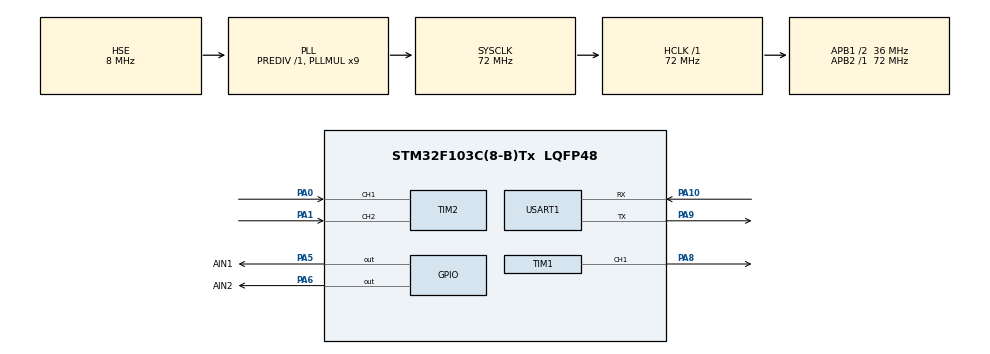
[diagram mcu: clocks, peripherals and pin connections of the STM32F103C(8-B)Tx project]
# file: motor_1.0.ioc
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Mcu.Family=STM32F1
Mcu.Name=STM32F103C(8-B)Tx
Mcu.Package=LQFP48
NVIC.PriorityGroup=NVIC_PRIORITYGROUP_4
NVIC.TIM3_IRQn=true\:0\:0\:false\:false\:true\:true\:true\:true
NVIC.USART1_IRQn=true\:0\:0\:false\:false\:true\:true\:true\:true
PA0-WKUP.Signal=S_TIM2_CH1_ETR
PA1.Signal=S_TIM2_CH2
PA10.Mode=Asynchronous
PA10.Signal=USART1_RX
PA13.Mode=Serial_Wire
PA13.Signal=SYS_JTMS-SWDIO
PA14.Mode=Serial_Wire
PA14.Signal=SYS_JTCK-SWCLK
PA5.GPIO_Label=AIN1
PA5.Signal=GPIO_Output
PA6.GPIO_Label=AIN2
PA6.Signal=GPIO_Output
PA8.Signal=S_TIM1_CH1
PA9.Mode=Asynchronous
PA9.Signal=USART1_TX
PD0-OSC_IN.Mode=HSE-External-Oscillator
PD0-OSC_IN.Signal=RCC_OSC_IN
PD1-OSC_OUT.Mode=HSE-External-Oscillator
PD1-OSC_OUT.Signal=RCC_OSC_OUT
ProjectManager.HeapSize=0x200
ProjectManager.StackSize=0x400
ProjectManager.TargetToolchain=STM32CubeIDE
RCC.AHBFreq_Value=72000000
RCC.APB1CLKDivider=RCC_HCLK_DIV2
RCC.APB1Freq_Value=36000000
RCC.APB1TimFreq_Value=72000000
RCC.APB2Freq_Value=72000000
RCC.APB2TimFreq_Value=72000000
RCC.HCLKFreq_Value=72000000
RCC.PLLMUL=RCC_PLL_MUL9
RCC.PLLSourceVirtual=RCC_PLLSOURCE_HSE
RCC.SYSCLKFreq_VALUE=72000000
RCC.SYSCLKSource=RCC_SYSCLKSOURCE_PLLCLK
RCC.USBFreq_Value=72000000
SH.S_TIM1_CH1.0=TIM1_CH1,PWM Generation1 CH1
SH.S_TIM2_CH1_ETR.0=TIM2_CH1,Encoder_Interface
SH.S_TIM2_CH2.0=TIM2_CH2,Encoder_Interface
TIM1.AutoReloadPreload=TIM_AUTORELOAD_PRELOAD_ENABLE
TIM1.Channel-PWM\ Generation1\ CH1=TIM_CHANNEL_1
TIM1.Period=7199
TIM2.AutoReloadPreload=TIM_AUTORELOAD_PRELOAD_ENABLE
TIM2.EncoderMode=TIM_ENCODERMODE_TI12
TIM2.IC1Filter=10
TIM2.IC2Filter=10
TIM3.AutoReloadPreload=TIM_AUTORELOAD_PRELOAD_ENABLE
TIM3.Period=99
TIM3.Prescaler=7199
USART1.VirtualMode=VM_ASYNC
VP_TIM1_VS_ClockSourceINT.Mode=Internal
VP_TIM3_VS_ClockSourceINT.Mode=Internal
board=custom

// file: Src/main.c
/* USER CODE BEGIN Header */
/**
  ******************************************************************************
  * @file           : main.c
  * @brief          : Main program body
  ******************************************************************************
  * @attention
  *
  * Copyright (c) 2023 STMicroelectronics.
  * All rights reserved.
  *
  * This software is licensed under terms that can be found in the LICENSE file
  * in the root directory of this software component.
  * If no LICENSE file comes with this software, it is provided AS-IS.
  *
  ******************************************************************************
  */
/* USER CODE END Header */
#include "main.h"
#include "tim.h"
#include "usart.h"
#include "gpio.h"

/* USER CODE BEGIN Includes */

#include "PID.h"
#include "encoder.h"
#include "printf.h"
#include "control.h"

/* USER CODE END Includes */

/* USER CODE BEGIN PV */
extern uint8_t rec;
extern PID_struct Velocity;
extern PID_struct Position;

float rmp  = 0;
/* USER CODE END PV */

void SystemClock_Config(void);

int main(void)
{

  /* MCU Configuration--------------------------------------------------------*/

  /* Reset of all peripherals, Initializes the Flash interface and the Systick. */
  HAL_Init();

  /* Configure the system clock */
  SystemClock_Config();

  /* Initialize all configured peripherals */
  MX_GPIO_Init();
  MX_TIM1_Init();
  MX_TIM2_Init();
  MX_TIM3_Init();
  MX_USART1_UART_Init();
  /* USER CODE BEGIN 2 */
 HAL_TIM_PWM_Start(&htim1,TIM_CHANNEL_1);

 HAL_TIM_Base_Start_IT(&htim3);

 HAL_TIM_Encoder_Start(&htim2,TIM_CHANNEL_1);
 HAL_TIM_Encoder_Start(&htim2,TIM_CHANNEL_2);
 __HAL_TIM_SET_COUNTER(&htim2,0);//编码器计数值清零

 HAL_UART_Receive_IT(&huart1,(uint8_t*)&rec,1);

 PID_Init(&Velocity);
 PID_Init(&Position);

 Position.target = (float)Num_Encoder_Cnt(2,13,30);
 Position.Kp = 0.2;
 Position.Ki = 0;
 Position.Kd = 0.4;

 Velocity.Kp = 120;//120
 Velocity.Ki = 1.0;//1.0
 Velocity.Kd = 0;
// Velocity.target = (float)Rpm_Encoder_Cnt(50,13,30,10);

  /* USER CODE END 2 */

  /* Infinite loop */
  /* USER CODE BEGIN WHILE */
  while (1)
  {
//      Position.target = (float)Num_Encoder_Cnt(5,13,30);
    /* USER CODE END WHILE */

    /* USER CODE BEGIN 3 */
      printf("%.2f,%.2f,%.2f\n",Velocity.target,Velocity.actual,Velocity.Kp);
      HAL_Delay(10);
  }
  /* USER CODE END 3 */
}

void SystemClock_Config(void)
{
  RCC_OscInitTypeDef RCC_OscInitStruct = {0};
  RCC_ClkInitTypeDef RCC_ClkInitStruct = {0};

  /** Initializes the RCC Oscillators according to the specified parameters
  * in the RCC_OscInitTypeDef structure.
  */
  RCC_OscInitStruct.OscillatorType = RCC_OSCILLATORTYPE_HSE;
  RCC_OscInitStruct.HSEState = RCC_HSE_ON;
  RCC_OscInitStruct.HSEPredivValue = RCC_HSE_PREDIV_DIV1;
  RCC_OscInitStruct.HSIState = RCC_HSI_ON;
  RCC_OscInitStruct.PLL.PLLState = RCC_PLL_ON;
  RCC_OscInitStruct.PLL.PLLSource = RCC_PLLSOURCE_HSE;
  RCC_OscInitStruct.PLL.PLLMUL = RCC_PLL_MUL9;
  if (HAL_RCC_OscConfig(&RCC_OscInitStruct) != HAL_OK)
  {
    Error_Handler();
  }

  /** Initializes the CPU, AHB and APB buses clocks
  */
  RCC_ClkInitStruct.ClockType = RCC_CLOCKTYPE_HCLK|RCC_CLOCKTYPE_SYSCLK
                              |RCC_CLOCKTYPE_PCLK1|RCC_CLOCKTYPE_PCLK2;
  RCC_ClkInitStruct.SYSCLKSource = RCC_SYSCLKSOURCE_PLLCLK;
  RCC_ClkInitStruct.AHBCLKDivider = RCC_SYSCLK_DIV1;
  RCC_ClkInitStruct.APB1CLKDivider = RCC_HCLK_DIV2;
  RCC_ClkInitStruct.APB2CLKDivider = RCC_HCLK_DIV1;

  if (HAL_RCC_ClockConfig(&RCC_ClkInitStruct, FLASH_LATENCY_2) != HAL_OK)
  {
    Error_Handler();
  }
}

void Error_Handler(void)
{
  __disable_irq();
  while (1)
  {
  }
}
